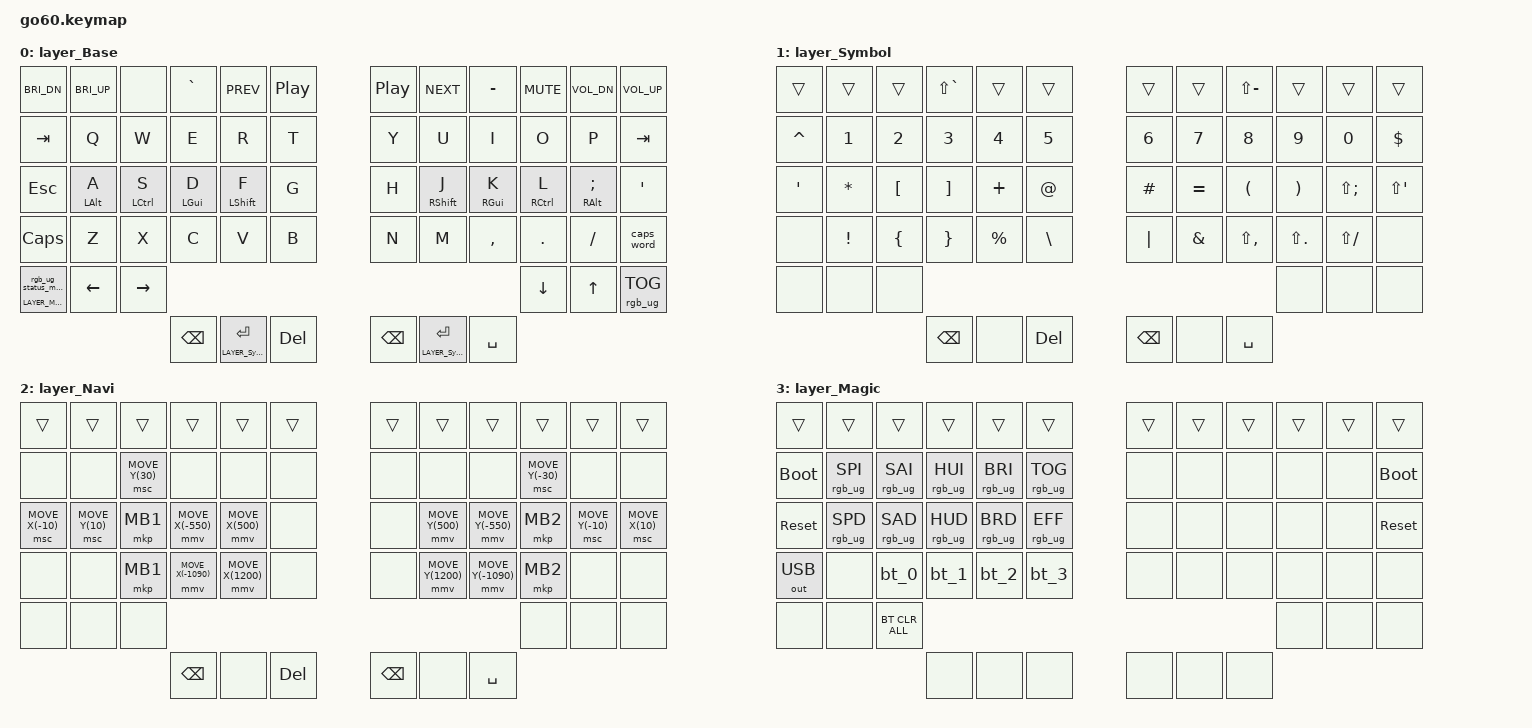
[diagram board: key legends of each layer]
/*
 * Copyright (c) 2020 The ZMK Contributors
 *
 * SPDX-License-Identifier: MIT
 */

#include <behaviors.dtsi>

#include <dt-bindings/zmk/bt.h>
#include <dt-bindings/zmk/ext_power.h>
#include <dt-bindings/zmk/keys.h>
#include <dt-bindings/zmk/outputs.h>
#include <dt-bindings/zmk/rgb.h>
#include <dt-bindings/zmk/input_transform.h>
#include <dt-bindings/zmk/pointing.h>

#include <input/processors.dtsi>
#include <zephyr/dt-bindings/input/input-event-codes.h>

// layers
#define LAYER_Base 0
#define LAYER_Symbol 1
#define LAYER_Navi 2
#define LAYER_Magic 3

/ {
    input_processors {
        zip_click_to_right_click_mapper: zip_click_to_right_click_mapper {
            compatible = "zmk,input-processor-code-mapper";
            #input-processor-cells = <0>;
            type = <INPUT_EV_KEY>;
            map = <INPUT_BTN_0 INPUT_BTN_1>;
        };
    };

    behaviors {
        magic: magic {
            compatible = "zmk,behavior-hold-tap";
            #binding-cells = <2>;
            flavor = "tap-preferred";
            tapping-term-ms = <200>;
            bindings = <&mo>, <&rgb_ug_status_macro>;
        };

        bt_0: bt_0 { compatible = "zmk,behavior-tap-dance";
            #binding-cells = <0>;
            tapping-term-ms = <200>;
            bindings = <&bt_select_0>, <&bt BT_DISC 0>;
        };
        bt_1: bt_1 {
            compatible = "zmk,behavior-tap-dance";
            #binding-cells = <0>;
            tapping-term-ms = <200>;
            bindings = <&bt_select_1>, <&bt BT_DISC 1>;
        };
        bt_2: bt_2 {
            compatible = "zmk,behavior-tap-dance";
            #binding-cells = <0>;
            tapping-term-ms = <200>;
            bindings = <&bt_select_2>, <&bt BT_DISC 2>;
        };
        bt_3: bt_3 {
            compatible = "zmk,behavior-tap-dance";
            #binding-cells = <0>;
            tapping-term-ms = <200>;
            bindings = <&bt_select_3>, <&bt BT_DISC 3>;
        };
        HRM_LPinky: HRM_LPinky {
            compatible = "zmk,behavior-hold-tap";
            #binding-cells = <2>;

            flavor = "tap-preferred";

            tapping-term-ms = <230>;
            quick-tap-ms = <300>;
            require-prior-idle-ms = <120>;

            bindings = <&kp>, <&kp>;

            hold-trigger-on-release;
            hold-trigger-key-positions = < 31 32 33 34 49 50 51 52 54 55 56 57 58 59 18 19 20 21 22 42 43 44 45 >;

        };
        HRM_RPinky: HRM_RPinky {
            compatible = "zmk,behavior-hold-tap";
            #binding-cells = <2>;

            flavor = "tap-preferred";

            tapping-term-ms = <230>;
            quick-tap-ms = <300>;
            require-prior-idle-ms = <120>;

            bindings = <&kp>, <&kp>;

            hold-trigger-on-release;
            hold-trigger-key-positions = < 25 26 27 28 49 50 51 52 54 55 56 57 58 59 13 14 15 16 17 29 37 38 39 40 41  >;

        };
        HRM_LRing: HRM_LRing {
            compatible = "zmk,behavior-hold-tap";
            #binding-cells = <2>;

            flavor = "tap-preferred";

            tapping-term-ms = <180>;
            quick-tap-ms = <300>;
            require-prior-idle-ms = <120>;

            bindings = <&kp>, <&kp>;

            hold-trigger-on-release;
            hold-trigger-key-positions = < 31 32 33 34 49 50 51 52 54 55 56 57 58 59 18 19 20 21 22 42 43 44 45 >;
        };
        HRM_RRing: HRM_RRing {
            compatible = "zmk,behavior-hold-tap";
            #binding-cells = <2>;

            flavor = "tap-preferred";

            tapping-term-ms = <180>;
            quick-tap-ms = <300>;
            require-prior-idle-ms = <120>;

            bindings = <&kp>, <&kp>;

            hold-trigger-on-release;
            hold-trigger-key-positions = < 25 26 27 28 49 50 51 52 54 55 56 57 58 59 13 14 15 16 17 29 37 38 39 40 41  >;
        };
        HRM_LMiddle: HRM_LMiddle {
            compatible = "zmk,behavior-hold-tap";
            #binding-cells = <2>;

            flavor = "tap-preferred";

            tapping-term-ms = <170>;
            quick-tap-ms = <300>;
            require-prior-idle-ms = <130>;

            bindings = <&kp>, <&kp>;

            hold-trigger-on-release;
            hold-trigger-key-positions = < 31 32 33 34 49 50 51 52 54 55 56 57 58 59 18 19 20 21 22 42 43 44 45 >;
        };
        HRM_RMiddle: HRM_RMiddle {
            compatible = "zmk,behavior-hold-tap";
            #binding-cells = <2>;

            flavor = "tap-preferred";

            tapping-term-ms = <170>;
            quick-tap-ms = <300>;
            require-prior-idle-ms = <120>;

            bindings = <&kp>, <&kp>;

            hold-trigger-on-release;
            hold-trigger-key-positions = < 25 26 27 28 49 50 51 52 54 55 56 57 58 59 13 14 15 16 17 29 37 38 39 40 41  >;
        };
        HRM_LIndex: HRM_LIndex {
            compatible = "zmk,behavior-hold-tap";
            #binding-cells = <2>;

            flavor = "balanced";

            tapping-term-ms = <180>;
            quick-tap-ms = <300>;
            require-prior-idle-ms = <120>;

            bindings = <&kp>, <&kp>;

            hold-trigger-on-release;
            hold-trigger-key-positions = < 31 32 33 34 49 50 51 52 54 55 56 57 58 59 18 19 20 21 22 42 43 44 45 >;
        };
        HRM_RIndex: HRM_RIndex {
            compatible = "zmk,behavior-hold-tap";
            #binding-cells = <2>;

            flavor = "balanced";

            tapping-term-ms = <180>;
            quick-tap-ms = <300>;
            require-prior-idle-ms = <120>;

            bindings = <&kp>, <&kp>;

            hold-trigger-on-release;
            hold-trigger-key-positions = < 25 26 27 28 49 50 51 52 54 55 56 57 58 59 13 14 15 16 17 29 37 38 39 40 41  >;
        };

    };

    macros {
        rgb_ug_status_macro: rgb_ug_status_macro {
            compatible = "zmk,behavior-macro";
            #binding-cells = <0>;
            bindings = <&rgb_ug RGB_STATUS>;
        };

        bt_select_0: bt_select_0 {
            compatible = "zmk,behavior-macro";
            #binding-cells = <0>;
            bindings
                = <&out OUT_BLE>,
                  <&bt BT_SEL 0>;
        };
        bt_select_1: bt_select_1 {
            compatible = "zmk,behavior-macro";
            #binding-cells = <0>;
            bindings
                = <&out OUT_BLE>,
                  <&bt BT_SEL 1>;
        };
        bt_select_2: bt_select_2 {
            compatible = "zmk,behavior-macro";
            #binding-cells = <0>;
            bindings
                = <&out OUT_BLE>,
                  <&bt BT_SEL 2>;
        };
        bt_select_3: bt_select_3 {
            compatible = "zmk,behavior-macro";
            #binding-cells = <0>;
            bindings
                = <&out OUT_BLE>,
                  <&bt BT_SEL 3>;
        };
      };

      combos {
        compatible = "zmk,combos";

        underscore_combo {
            timeout-ms = <81>;
            key-positions = <54 59>;
            bindings = <&kp UNDER>;
          };

        navigation_combo {
            timeout-ms = <2000>;
            key-positions = <55 58>;
            bindings = <&mo LAYER_Navi>;
          };
        };

    keymap {
        compatible = "zmk,keymap";
        layer_Base {
            bindings = <
            &kp C_BRI_DN  &kp C_BRI_UP  &none   &kp GRAVE    &kp C_PREV   &kp C_PP                                      &kp C_PP    &kp C_NEXT &kp MINUS   &kp C_MUTE  &kp C_VOL_DN  &kp C_VOL_UP
              &kp TAB   &kp Q      &kp W    &kp E     &kp R   &kp T                                                       &kp Y     &kp U      &kp I     &kp O     &kp P            &kp TAB
              &kp ESC   &HRM_LPinky LALT A &HRM_LRing LCTRL S &HRM_LMiddle LGUI D &HRM_LIndex LSHFT F   &kp G            &kp H     &HRM_RIndex RSHFT J   &HRM_RMiddle RGUI K     &HRM_RRing RCTRL L  &HRM_RPinky RALT SEMI  &kp SQT
              &kp CAPS   &kp Z      &kp X    &kp C     &kp V   &kp B                                                       &kp N     &kp M  &kp COMMA   &kp DOT  &kp FSLH             &caps_word

                            &magic LAYER_Magic 0 &kp LEFT  &kp RIGHT                                                        &kp DOWN   &kp UP  &rgb_ug RGB_TOG

                                                           &kp BSPC  &lt LAYER_Symbol RET  &kp DEL                      &kp BSPC  &lt LAYER_Symbol RET  &kp SPACE 
            >;
        };

        layer_Symbol {
            bindings = <
            &trans &trans &trans &kp LS(GRAVE) &trans &trans                                                                    &trans &trans &kp LS(MINUS) &trans &trans &trans
            &kp CARET  &kp N1     &kp N2   &kp N3    &kp N4  &kp N5                                                      &kp N6    &kp N7     &kp N8    &kp N9    &kp N0           &kp DLLR
              &kp SQT   &kp STAR   &kp LBKT    &kp RBKT     &kp PLUS   &kp AT                                               &kp HASH     &kp EQUAL      &kp LPAR     &kp RPAR  &kp LS(SEMI)   &kp LS(SQT)
              &none   &kp EXCL    &kp LBRC    &kp RBRC     &kp PRCNT   &kp BSLH                                             &kp PIPE     &kp AMPS  &kp LS(COMMA)   &kp LS(DOT)  &kp LS(FSLH)     &none
 
                                &none   &none  &none                                                                      &none  &none  &none

                                                           &kp BSPC  &none  &kp DEL                     &kp BSPC  &none  &kp SPACE 
            >;
        };

        layer_Navi {
            bindings = <
            &trans &trans &trans &trans &trans &trans                                                                    &trans &trans &trans &trans &trans &trans
            &none  &none  &msc MOVE_Y(30)  &none  &none  &none                                                                       &none  &none  &none  &msc MOVE_Y(-30) &none  &none
            &msc MOVE_X(-10)  &msc MOVE_Y(10)  &mkp MB1   &mmv MOVE_X(-550)  &mmv MOVE_X(500)  &none                                        &none  &mmv MOVE_Y(500)  &mmv MOVE_Y(-550)  &mkp MB2 &msc MOVE_Y(-10)  &msc MOVE_X(10)
            &none &none &mkp MB1 &mmv MOVE_X(-1090)  &mmv MOVE_X(1200) &none                                                  &none  &mmv MOVE_Y(1200)  &mmv MOVE_Y(-1090)  &mkp MB2 &none &none
 
                                &none   &none  &none                                                                      &none  &none  &none

                                                           &kp BSPC  &none  &kp DEL                     &kp BSPC  &none  &kp SPACE 
            >;
        };

        layer_Magic {
            bindings = <
            &trans &trans &trans &trans &trans &trans                                                                                           &trans &trans &trans &trans &trans &trans
           &bootloader  &rgb_ug RGB_SPI  &rgb_ug RGB_SAI  &rgb_ug RGB_HUI  &rgb_ug RGB_BRI  &rgb_ug RGB_TOG                                     &none         &none         &none   &none   &none       &bootloader
            &sys_reset  &rgb_ug RGB_SPD  &rgb_ug RGB_SAD  &rgb_ug RGB_HUD  &rgb_ug RGB_BRD  &rgb_ug RGB_EFF                                     &none         &none         &none   &none   &none        &sys_reset
                 &out OUT_USB     &none            &bt_0            &bt_1            &bt_2            &bt_3                                     &none         &none         &none   &none   &none         &none 

                                  &none            &none             &bt BT_CLR_ALL                                                                    &none         &none   &none

                                                                              &none   &none   &none           &none   &none   &none
            >;
        };
    };
};

&cirque_rh_listener {
    input-processors = <&zip_xy_scaler 2 1>;
};

&cirque_lh_listener {
    input-processors = <&zip_xy_to_scroll_mapper>, <&zip_xy_scaler 1 16>, <&zip_click_to_right_click_mapper>;
};
